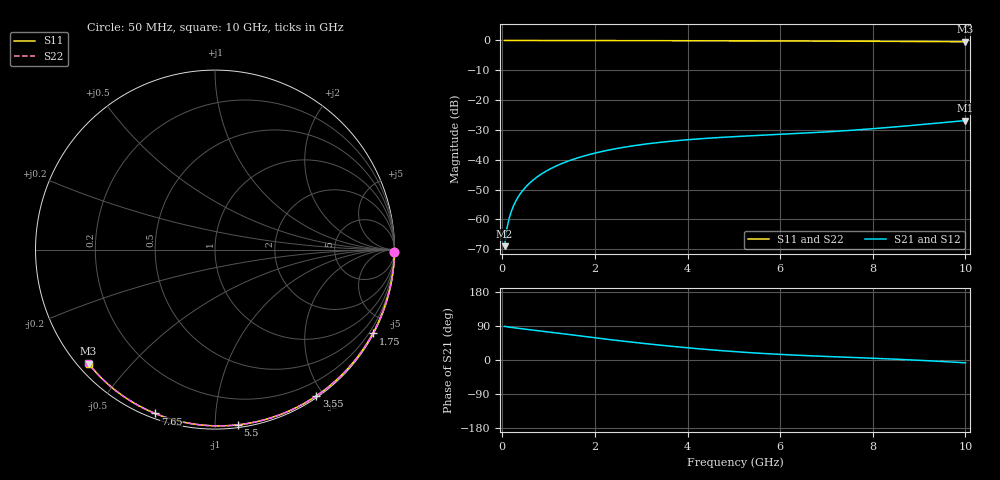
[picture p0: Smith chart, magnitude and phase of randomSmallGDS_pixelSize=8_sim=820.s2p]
! freq	dB(S11)	phase(S11)	dB(S12)	phase(S12)
!  dB(S21)	phase(S21)	dB(S22)	phase(S22)
!S-par simulation data
#  GHz  S  DB  R 50
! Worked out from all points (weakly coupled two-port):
!   200 points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, 50 MHz to 10 GHz, reference 50 ohm
!   highest |S21| = -26.84 dB at 10 GHz (marker M1); lowest = -69.0 dB at 50 MHz (marker M2)
!   lowest |S11| = -0.5 dB at 10 GHz (marker M3), VSWR 37.83, Z = 1.52 - j19.2 ohm
!   |S11| at or under -10 dB: nowhere
!   |S22| runs from -0.5 to 0.0 dB; largest |S21 - S12| = 0
!   S11 on the Smith chart (normalised r, x): 50 MHz: open; 1.75 GHz: 0.04, -4.01; 3.55 GHz: 0.02, -1.91; 5.5 GHz: 0.02, -1.14; 7.65 GHz: 0.02, -0.70; 10 GHz: 0.03, -0.38
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0.05  -0.00 -0.8  -68.96 88.7  -68.96 88.7  -0.00 -0.8
0.1  -0.00 -1.6  -62.99 87.6  -62.99 87.6  -0.00 -1.6
0.15  -0.00 -2.4  -59.52 86.7  -59.52 86.7  -0.00 -2.4
0.2  -0.00 -3.3  -57.07 85.9  -57.07 85.9  -0.00 -3.3
0.25  -0.00 -4.1  -55.16 85.1  -55.16 85.1  -0.00 -4.1
0.35  -0.00 -5.7  -52.28 83.6  -52.28 83.6  -0.00 -5.7
0.5  -0.01 -8.1  -49.23 81.4  -49.23 81.4  -0.01 -8.1
0.7  -0.01 -11.3  -46.35 78.3  -46.35 78.3  -0.01 -11.4
1  -0.02 -16.1  -43.34 73.7  -43.34 73.7  -0.02 -16.2
1.35  -0.03 -21.7  -40.86 68.3  -40.86 68.3  -0.03 -21.7
1.75  -0.04 -28.0  -38.79 62.2  -38.79 62.2  -0.04 -28.1
2.5  -0.05 -39.6  -36.14 51.2  -36.14 51.2  -0.05 -39.7
3.4  -0.07 -53.1  -34.16 39.3  -34.16 39.3  -0.07 -53.2
3.55  -0.08 -55.3  -33.92 37.4  -33.92 37.4  -0.08 -55.4
4.3  -0.09 -66.1  -32.92 29.0  -32.92 29.0  -0.10 -66.3
5.05  -0.12 -76.5  -32.21 21.8  -32.21 21.8  -0.12 -76.7
5.5  -0.13 -82.6  -31.85 18.2  -31.85 18.2  -0.13 -82.8
6.7  -0.19 -98.2  -30.92 10.8  -30.92 10.8  -0.19 -98.5
7.65  -0.25 -110.0  -29.99 6.3  -29.99 6.3  -0.25 -110.3
8.35  -0.30 -118.5  -29.15 2.9  -29.15 2.9  -0.30 -118.8
9.2  -0.38 -128.6  -27.99 -2.0  -27.99 -2.0  -0.38 -128.9
10  -0.46 -138.0  -26.84 -7.4  -26.84 -7.4  -0.46 -138.3
